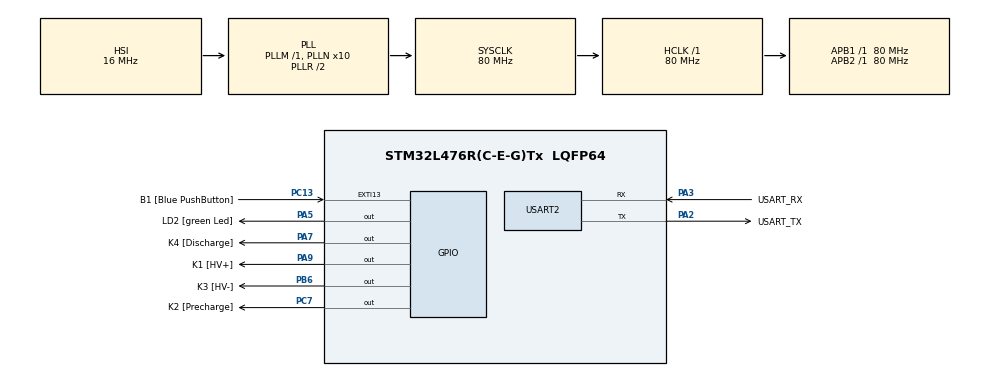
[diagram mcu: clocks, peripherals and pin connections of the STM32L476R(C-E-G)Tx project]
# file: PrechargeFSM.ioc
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Mcu.Family=STM32L4
Mcu.Name=STM32L476R(C-E-G)Tx
Mcu.Package=LQFP64
NVIC.EXTI15_10_IRQn=true\:0\:0\:false\:false\:true\:true\:true
NVIC.PriorityGroup=NVIC_PRIORITYGROUP_4
NVIC.TIM2_IRQn=true\:0\:0\:false\:false\:true\:true\:true
PA13\ (JTMS-SWDIO).GPIO_Label=TMS
PA13\ (JTMS-SWDIO).Mode=Serial_Wire
PA13\ (JTMS-SWDIO).Signal=SYS_JTMS-SWDIO
PA14\ (JTCK-SWCLK).GPIO_Label=TCK
PA14\ (JTCK-SWCLK).Mode=Serial_Wire
PA14\ (JTCK-SWCLK).Signal=SYS_JTCK-SWCLK
PA2.GPIO_Label=USART_TX
PA2.GPIO_Mode=GPIO_MODE_AF_PP
PA2.GPIO_PuPd=GPIO_NOPULL
PA2.GPIO_Speed=GPIO_SPEED_FREQ_VERY_HIGH
PA2.Mode=Asynchronous
PA2.Signal=USART2_TX
PA3.GPIO_Label=USART_RX
PA3.GPIO_Mode=GPIO_MODE_AF_PP
PA3.GPIO_PuPd=GPIO_NOPULL
PA3.GPIO_Speed=GPIO_SPEED_FREQ_VERY_HIGH
PA3.Mode=Asynchronous
PA3.Signal=USART2_RX
PA5.GPIO_Label=LD2 [green Led]
PA5.GPIO_ModeDefaultOutputPP=GPIO_MODE_OUTPUT_PP
PA5.GPIO_PuPd=GPIO_NOPULL
PA5.GPIO_Speed=GPIO_SPEED_FREQ_LOW
PA5.Signal=GPIO_Output
PA7.GPIO_Label=K4 [Discharge]
PA7.Signal=GPIO_Output
PA9.GPIO_Label=K1 [HV+]
PA9.Signal=GPIO_Output
PB3\ (JTDO-TRACESWO).GPIO_Label=SWO
PB3\ (JTDO-TRACESWO).Signal=SYS_JTDO-SWO
PB6.GPIO_Label=K3 [HV-]
PB6.Signal=GPIO_Output
PC13.GPIO_Label=B1 [Blue PushButton]
PC13.GPIO_ModeDefaultEXTI=GPIO_MODE_IT_FALLING
PC13.GPIO_PuPd=GPIO_NOPULL
PC13.Signal=GPXTI13
PC14-OSC32_IN\ (PC14).Mode=LSE-External-Oscillator
PC14-OSC32_IN\ (PC14).Signal=RCC_OSC32_IN
PC15-OSC32_OUT\ (PC15).Mode=LSE-External-Oscillator
PC15-OSC32_OUT\ (PC15).Signal=RCC_OSC32_OUT
PC7.GPIO_Label=K2 [Precharge]
PC7.Signal=GPIO_Output
PH0-OSC_IN\ (PH0).Signal=RCC_OSC_IN
PH1-OSC_OUT\ (PH1).Signal=RCC_OSC_OUT
ProjectManager.HeapSize=0x200
ProjectManager.StackSize=0x400
ProjectManager.TargetToolchain=STM32CubeIDE
RCC.ADCFreq_Value=64000000
RCC.AHBFreq_Value=80000000
RCC.APB1Freq_Value=80000000
RCC.APB1TimFreq_Value=80000000
RCC.APB2Freq_Value=80000000
RCC.APB2TimFreq_Value=80000000
RCC.CortexFreq_Value=80000000
RCC.HCLKFreq_Value=80000000
RCC.HSE_VALUE=8000000
RCC.HSI_VALUE=16000000
RCC.MSI_VALUE=4000000
RCC.PLLN=10
RCC.PLLSourceVirtual=RCC_PLLSOURCE_HSI
RCC.PREFETCH_ENABLE=1
RCC.SYSCLKFreq_VALUE=80000000
RCC.SYSCLKSource=RCC_SYSCLKSOURCE_PLLCLK
RCC.USBFreq_Value=64000000
RCC.VCOOutputFreq_Value=160000000
TIM2.AutoReloadPreload=TIM_AUTORELOAD_PRELOAD_ENABLE
TIM2.ClockDivision=TIM_CLOCKDIVISION_DIV1
TIM2.Period=187500
TIM2.Prescaler=1
USART2.VirtualMode-Asynchronous=VM_ASYNC
VP_TIM2_VS_ClockSourceINT.Mode=Internal
board=NUCLEO-L476RG

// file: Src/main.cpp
/* USER CODE BEGIN Header */
/**
  ******************************************************************************
  * @file           : main.c
  * @brief          : Main program body
  ******************************************************************************
  * @attention
  *
  * <h2><center>&copy; Copyright (c) 2019 STMicroelectronics.
  * All rights reserved.</center></h2>
  *
  * This software component is licensed by ST under BSD 3-Clause license,
  * the "License"; You may not use this file except in compliance with the
  * License. You may obtain a copy of the License at:
  *                        opensource.org/licenses/BSD-3-Clause
  *
  ******************************************************************************
  */
/* USER CODE END Header */

#include "main.h"
#include "tim.h"
#include "usart.h"
#include "gpio.h"

/* USER CODE BEGIN Includes */
#include "tinyfsm.hpp"
#include "Precharge.hpp"
#include "Events.hpp"
/* USER CODE END Includes */

/* USER CODE BEGIN PV */
int toggle = 0;
/* USER CODE END PV */

void SystemClock_Config(void);
/* USER CODE BEGIN PFP */
uint8_t buffer[1];
/* USER CODE END PFP */

/* USER CODE BEGIN 0 */
using fsm_handle = Precharge;
int startBit = 0;
int timeBit = 0;
void HAL_GPIO_EXTI_Callback(uint16_t GPIO_Pin) {
	if (GPIO_Pin == GPIO_PIN_13) {
		startBit = 1;
	}
}

void HAL_TIM_PeriodElapsedCallback(TIM_HandleTypeDef *htim)
{
	timeBit = 1;
}

/* USER CODE END 0 */

int main(void)
{

  /* MCU Configuration--------------------------------------------------------*/

  /* Reset of all peripherals, Initializes the Flash interface and the Systick. */
  HAL_Init();

  /* USER CODE BEGIN Init */
	fsm_handle::start();

  /* USER CODE END Init */

  /* Configure the system clock */
  SystemClock_Config();

  /* Initialize all configured peripherals */
  MX_GPIO_Init();
  MX_USART2_UART_Init();
  MX_TIM2_Init();

  /* Infinite loop */
  while (1)
  {
	  (void*)fsm_handle::current_state_ptr;
  	  HAL_UART_Receive(&huart2, buffer, 1, 50);
  	  if(buffer[0] == 'd') {
  		  buffer[0] = 0;
  		  fsm_handle::dispatch(Discharge());
  	  }
  	  if(buffer[0] == 'f') {
  		  buffer[0] = 0;
  		  fsm_handle::dispatch(Fault());
  	  }
    /* USER CODE BEGIN 3 */
	  if(startBit) {
		  fsm_handle::dispatch(StartPrecharge());
		  startBit = 0;
	  }
	  if(timeBit) {
			fsm_handle::dispatch(TimerPulse());
			timeBit = 0;
	  }

  }
  /* USER CODE END 3 */
}

void SystemClock_Config(void)
{
  RCC_OscInitTypeDef RCC_OscInitStruct = {0};
  RCC_ClkInitTypeDef RCC_ClkInitStruct = {0};
  RCC_PeriphCLKInitTypeDef PeriphClkInit = {0};

  /** Initializes the CPU, AHB and APB busses clocks
  */
  RCC_OscInitStruct.OscillatorType = RCC_OSCILLATORTYPE_HSI;
  RCC_OscInitStruct.HSIState = RCC_HSI_ON;
  RCC_OscInitStruct.HSICalibrationValue = RCC_HSICALIBRATION_DEFAULT;
  RCC_OscInitStruct.PLL.PLLState = RCC_PLL_ON;
  RCC_OscInitStruct.PLL.PLLSource = RCC_PLLSOURCE_HSI;
  RCC_OscInitStruct.PLL.PLLM = 1;
  RCC_OscInitStruct.PLL.PLLN = 10;
  RCC_OscInitStruct.PLL.PLLP = RCC_PLLP_DIV7;
  RCC_OscInitStruct.PLL.PLLQ = RCC_PLLQ_DIV2;
  RCC_OscInitStruct.PLL.PLLR = RCC_PLLR_DIV2;
  if (HAL_RCC_OscConfig(&RCC_OscInitStruct) != HAL_OK)
  {
    Error_Handler();
  }
  /** Initializes the CPU, AHB and APB busses clocks
  */
  RCC_ClkInitStruct.ClockType = RCC_CLOCKTYPE_HCLK|RCC_CLOCKTYPE_SYSCLK
                              |RCC_CLOCKTYPE_PCLK1|RCC_CLOCKTYPE_PCLK2;
  RCC_ClkInitStruct.SYSCLKSource = RCC_SYSCLKSOURCE_PLLCLK;
  RCC_ClkInitStruct.AHBCLKDivider = RCC_SYSCLK_DIV1;
  RCC_ClkInitStruct.APB1CLKDivider = RCC_HCLK_DIV1;
  RCC_ClkInitStruct.APB2CLKDivider = RCC_HCLK_DIV1;

  if (HAL_RCC_ClockConfig(&RCC_ClkInitStruct, FLASH_LATENCY_4) != HAL_OK)
  {
    Error_Handler();
  }
  PeriphClkInit.PeriphClockSelection = RCC_PERIPHCLK_USART2;
  PeriphClkInit.Usart2ClockSelection = RCC_USART2CLKSOURCE_PCLK1;
  if (HAL_RCCEx_PeriphCLKConfig(&PeriphClkInit) != HAL_OK)
  {
    Error_Handler();
  }
  /** Configure the main internal regulator output voltage
  */
  if (HAL_PWREx_ControlVoltageScaling(PWR_REGULATOR_VOLTAGE_SCALE1) != HAL_OK)
  {
    Error_Handler();
  }
}

void Error_Handler(void)
{
}

/************************ (C) COPYRIGHT STMicroelectronics *****END OF FILE****/
